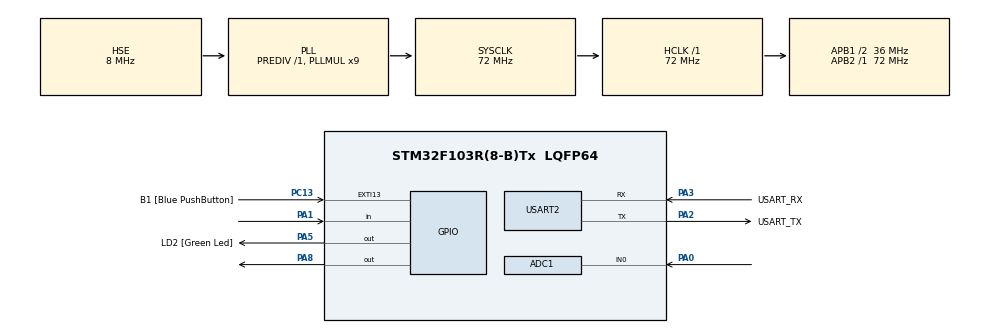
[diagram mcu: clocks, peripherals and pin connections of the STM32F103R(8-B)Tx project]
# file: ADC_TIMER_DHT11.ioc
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ADC1.Channel-0\#ChannelRegularConversion=ADC_CHANNEL_0
ADC1.ContinuousConvMode=ENABLE
ADC1.NbrOfConversionFlag=1
ADC1.Rank-0\#ChannelRegularConversion=1
ADC1.SamplingTime-0\#ChannelRegularConversion=ADC_SAMPLETIME_239CYCLES_5
ADC1.master=1
Mcu.Family=STM32F1
Mcu.Name=STM32F103R(8-B)Tx
Mcu.Package=LQFP64
NVIC.ADC1_2_IRQn=true\:0\:0\:false\:false\:true\:true\:true\:true
NVIC.EXTI15_10_IRQn=true\:0\:0\:false\:false\:true\:true\:true\:true
NVIC.PriorityGroup=NVIC_PRIORITYGROUP_4
PA0-WKUP.Signal=ADCx_IN0
PA1.GPIO_PuPd=GPIO_PULLUP
PA1.Signal=GPIO_Input
PA13.GPIO_Label=TMS
PA13.Mode=Serial_Wire
PA13.Signal=SYS_JTMS-SWDIO
PA14.GPIO_Label=TCK
PA14.Mode=Serial_Wire
PA14.Signal=SYS_JTCK-SWCLK
PA2.GPIO_Label=USART_TX
PA2.GPIO_Mode=GPIO_MODE_AF_PP
PA2.GPIO_PuPd=GPIO_NOPULL
PA2.GPIO_Speed=GPIO_SPEED_FREQ_LOW
PA2.Mode=Asynchronous
PA2.Signal=USART2_TX
PA3.GPIO_Label=USART_RX
PA3.GPIO_Mode=GPIO_MODE_AF_PP
PA3.GPIO_PuPd=GPIO_NOPULL
PA3.GPIO_Speed=GPIO_SPEED_FREQ_LOW
PA3.Mode=Asynchronous
PA3.Signal=USART2_RX
PA5.GPIO_Label=LD2 [Green Led]
PA5.GPIO_ModeDefaultOutputPP=GPIO_MODE_OUTPUT_PP
PA5.GPIO_PuPd=GPIO_NOPULL
PA5.GPIO_Speed=GPIO_SPEED_FREQ_LOW
PA5.Signal=GPIO_Output
PA8.Signal=GPIO_Output
PB3.GPIO_Label=SWO
PB3.Signal=SYS_JTDO-TRACESWO
PC13-TAMPER-RTC.GPIO_Label=B1 [Blue PushButton]
PC13-TAMPER-RTC.GPIO_PuPd=GPIO_NOPULL
PC13-TAMPER-RTC.Signal=GPXTI13
PC14-OSC32_IN.Mode=LSE-External-Oscillator
PC14-OSC32_IN.Signal=RCC_OSC32_IN
PC15-OSC32_OUT.Mode=LSE-External-Oscillator
PC15-OSC32_OUT.Signal=RCC_OSC32_OUT
PD0-OSC_IN.Mode=HSE-External-Clock-Source
PD0-OSC_IN.Signal=RCC_OSC_IN
PD1-OSC_OUT.Mode=HSE-External-Clock-Source
PD1-OSC_OUT.Signal=RCC_OSC_OUT
ProjectManager.HeapSize=0x200
ProjectManager.StackSize=0x400
ProjectManager.TargetToolchain=STM32CubeIDE
RCC.ADCPresc=RCC_ADCPCLK2_DIV6
RCC.AHBFreq_Value=72000000
RCC.APB1CLKDivider=RCC_HCLK_DIV2
RCC.APB1Freq_Value=36000000
RCC.APB1TimFreq_Value=72000000
RCC.APB2Freq_Value=72000000
RCC.APB2TimFreq_Value=72000000
RCC.HCLKFreq_Value=72000000
RCC.PLLMUL=RCC_PLL_MUL9
RCC.PLLSourceVirtual=RCC_PLLSOURCE_HSE
RCC.RTCClockSelection=RCC_RTCCLKSOURCE_LSE
RCC.SYSCLKFreq_VALUE=72000000
RCC.SYSCLKSource=RCC_SYSCLKSOURCE_PLLCLK
RCC.USBFreq_Value=72000000
SH.ADCx_IN0.0=ADC1_IN0,IN0
TIM2.Prescaler=72-1
USART2.VirtualMode=VM_ASYNC
VP_TIM2_VS_ClockSourceINT.Mode=Internal
board=NUCLEO-F103RB

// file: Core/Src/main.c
/* USER CODE BEGIN Header */
/**
  ******************************************************************************
  * @file           : main.c
  * @brief          : Main program body
  ******************************************************************************
  * @attention
  *
  * Copyright (c) 2022 STMicroelectronics.
  * All rights reserved.
  *
  * This software is licensed under terms that can be found in the LICENSE file
  * in the root directory of this software component.
  * If no LICENSE file comes with this software, it is provided AS-IS.
  *
  ******************************************************************************
  */
/* USER CODE END Header */
#include "main.h"

/* USER CODE BEGIN Includes */
#include "stdio.h"
/* USER CODE END Includes */

 ADC_HandleTypeDef hadc1;

TIM_HandleTypeDef htim2;

UART_HandleTypeDef huart2;

/* USER CODE BEGIN PV */
uint32_t adcvalue;
uint32_t IC1, IC2;
int Capureflag;
float freq;
int time;
uint8_t DHT11;
/* USER CODE END PV */

void SystemClock_Config(void);
static void MX_GPIO_Init(void);
static void MX_USART2_UART_Init(void);
static void MX_ADC1_Init(void);
static void MX_TIM2_Init(void);

/* USER CODE BEGIN 0 */
#ifdef __GNUC__
/* With GCC, small printf (option LD Linker->Libraries->Small printf
   set to 'Yes') calls __io_putchar() */
#define PUTCHAR_PROTOTYPE int __io_putchar(int ch)
#else
#define PUTCHAR_PROTOTYPE int fputc(int ch, FILE *f)
#endif /* __GNUC__ */
PUTCHAR_PROTOTYPE
{
  /* Place your implementation of fputc here */
  /* e.g. write a character to the USART1 and Loop until the end of transmission */
  HAL_UART_Transmit(&huart2, (uint8_t *)&ch, 1, 0xFFFF);

  return ch;
}
void delay (uint16_t time)
  {
  	/* change your code here for the delay in microseconds */
  	__HAL_TIM_SET_COUNTER(&htim2, 0);
  	while ((__HAL_TIM_GET_COUNTER(&htim2))<time);
  }

  uint8_t Rh_byte1, Rh_byte2, Temp_byte1, Temp_byte2;
  uint16_t SUM, RH, TEMP;

  float Temperature = 0;
  float Humidity = 0;
  uint8_t Presence = 0;

  void Set_Pin_Output (GPIO_TypeDef *GPIOx, uint16_t GPIO_Pin)
  {
  	GPIO_InitTypeDef GPIO_InitStruct = {0};
  	GPIO_InitStruct.Pin = GPIO_Pin;
  	GPIO_InitStruct.Mode = GPIO_MODE_OUTPUT_PP;
  	GPIO_InitStruct.Speed = GPIO_SPEED_FREQ_LOW;
  	HAL_GPIO_Init(GPIOx, &GPIO_InitStruct);
  }

  void Set_Pin_Input (GPIO_TypeDef *GPIOx, uint16_t GPIO_Pin)
  {
  	GPIO_InitTypeDef GPIO_InitStruct = {0};
  	GPIO_InitStruct.Pin = GPIO_Pin;
  	GPIO_InitStruct.Mode = GPIO_MODE_INPUT;
  	GPIO_InitStruct.Pull = GPIO_PULLUP;
  	HAL_GPIO_Init(GPIOx, &GPIO_InitStruct);
  }

  /*********************************** DHT11 FUNCTIONS ********************************************/

  #define DHT11_PORT GPIOA
  #define DHT11_PIN GPIO_PIN_1

  void DHT11_Start (void)
  {
  	Set_Pin_Output (DHT11_PORT, DHT11_PIN);  // set the pin as output
  	HAL_GPIO_WritePin (DHT11_PORT, DHT11_PIN, 0);   // pull the pin low
  	delay (18000);   // wait for 18ms
      HAL_GPIO_WritePin (DHT11_PORT, DHT11_PIN, 1);   // pull the pin high
  	delay (20);   // wait for 20us
  	Set_Pin_Input(DHT11_PORT, DHT11_PIN);    // set as input
  }

  uint8_t DHT11_Check_Response (void)
  {
  	uint8_t Response = 0;
  	delay (40);
  	if (!(HAL_GPIO_ReadPin (DHT11_PORT, DHT11_PIN)))
  	{
  		delay (80);
  		if ((HAL_GPIO_ReadPin (DHT11_PORT, DHT11_PIN))) Response = 1;
  		else Response = -1; // 255
  	}
  	while ((HAL_GPIO_ReadPin (DHT11_PORT, DHT11_PIN)));   // wait for the pin to go low

  	return Response;
  }

  uint8_t DHT11_Read (void)
  {
  	uint8_t i,j;
  	for (j=0;j<8;j++)
  	{
  		while (!(HAL_GPIO_ReadPin (DHT11_PORT, DHT11_PIN)));   // wait for the pin to go high
  		delay (40);   // wait for 40 us
  		if (!(HAL_GPIO_ReadPin (DHT11_PORT, DHT11_PIN)))   // if the pin is low
  		{
  			i&= ~(1<<(7-j));   // write 0
  		}
  		else i|= (1<<(7-j));  // if the pin is high, write 1
  		while ((HAL_GPIO_ReadPin (DHT11_PORT, DHT11_PIN)));  // wait for the pin to go low
  	}
  	return i;
  }
/* USER CODE END 0 */

int main(void)
{

  /* MCU Configuration--------------------------------------------------------*/

  /* Reset of all peripherals, Initializes the Flash interface and the Systick. */
  HAL_Init();

  /* Configure the system clock */
  SystemClock_Config();

  /* Initialize all configured peripherals */
  MX_GPIO_Init();
  MX_USART2_UART_Init();
  MX_ADC1_Init();
  MX_TIM2_Init();
  /* USER CODE BEGIN 2 */
  HAL_ADC_Start_IT(&hadc1);		//ADC 활성화
  HAL_TIM_Base_Start(&htim2);  //timer 활성화
  /* USER CODE END 2 */

  /* Infinite loop */
  /* USER CODE BEGIN WHILE */
  while (1)
  {
 	  HAL_Delay(1000);
 	  printf("adc : %d\n\r", adcvalue);

 	  if(adcvalue>100)
 	  {
 		  HAL_GPIO_WritePin(GPIOA, GPIO_PIN_8, GPIO_PIN_RESET);		//끄기
 	  }
 	  else
 	  {
 		  HAL_GPIO_WritePin(GPIOA, GPIO_PIN_8, GPIO_PIN_SET);		//켜기
 	  }
     /* USER CODE END WHILE */

     /* USER CODE BEGIN 3 */
 	  /********************** DHT11 *********************/
 	  	 	  DHT11_Start();
 	  		  Presence = DHT11_Check_Response();
 	  		  Rh_byte1 = DHT11_Read ();
 	  		  Rh_byte2 = DHT11_Read ();
 	  		  Temp_byte1 = DHT11_Read ();
 	  		  Temp_byte2 = DHT11_Read ();
 	  		  SUM = DHT11_Read();

 	  		  TEMP = Temp_byte1;
 	  		  RH = Rh_byte1;

 	  		  Temperature = (float) TEMP;
 	  		  Humidity = (float) RH;

 	  		  printf("Temperature : %.0f Humidity : %.0f\r\n" , Temperature,Humidity);
 	  		  HAL_Delay(1000);

   }
  /* USER CODE END 3 */
}

void SystemClock_Config(void)
{
  RCC_OscInitTypeDef RCC_OscInitStruct = {0};
  RCC_ClkInitTypeDef RCC_ClkInitStruct = {0};
  RCC_PeriphCLKInitTypeDef PeriphClkInit = {0};

  /** Initializes the RCC Oscillators according to the specified parameters
  * in the RCC_OscInitTypeDef structure.
  */
  RCC_OscInitStruct.OscillatorType = RCC_OSCILLATORTYPE_HSE;
  RCC_OscInitStruct.HSEState = RCC_HSE_BYPASS;
  RCC_OscInitStruct.HSEPredivValue = RCC_HSE_PREDIV_DIV1;
  RCC_OscInitStruct.HSIState = RCC_HSI_ON;
  RCC_OscInitStruct.PLL.PLLState = RCC_PLL_ON;
  RCC_OscInitStruct.PLL.PLLSource = RCC_PLLSOURCE_HSE;
  RCC_OscInitStruct.PLL.PLLMUL = RCC_PLL_MUL9;
  if (HAL_RCC_OscConfig(&RCC_OscInitStruct) != HAL_OK)
  {
    Error_Handler();
  }

  /** Initializes the CPU, AHB and APB buses clocks
  */
  RCC_ClkInitStruct.ClockType = RCC_CLOCKTYPE_HCLK|RCC_CLOCKTYPE_SYSCLK
                              |RCC_CLOCKTYPE_PCLK1|RCC_CLOCKTYPE_PCLK2;
  RCC_ClkInitStruct.SYSCLKSource = RCC_SYSCLKSOURCE_PLLCLK;
  RCC_ClkInitStruct.AHBCLKDivider = RCC_SYSCLK_DIV1;
  RCC_ClkInitStruct.APB1CLKDivider = RCC_HCLK_DIV2;
  RCC_ClkInitStruct.APB2CLKDivider = RCC_HCLK_DIV1;

  if (HAL_RCC_ClockConfig(&RCC_ClkInitStruct, FLASH_LATENCY_2) != HAL_OK)
  {
    Error_Handler();
  }
  PeriphClkInit.PeriphClockSelection = RCC_PERIPHCLK_ADC;
  PeriphClkInit.AdcClockSelection = RCC_ADCPCLK2_DIV6;
  if (HAL_RCCEx_PeriphCLKConfig(&PeriphClkInit) != HAL_OK)
  {
    Error_Handler();
  }
}

static void MX_ADC1_Init(void)
{

  ADC_ChannelConfTypeDef sConfig = {0};

  /** Common config
  */
  hadc1.Instance = ADC1;
  hadc1.Init.ScanConvMode = ADC_SCAN_DISABLE;
  hadc1.Init.ContinuousConvMode = ENABLE;
  hadc1.Init.DiscontinuousConvMode = DISABLE;
  hadc1.Init.ExternalTrigConv = ADC_SOFTWARE_START;
  hadc1.Init.DataAlign = ADC_DATAALIGN_RIGHT;
  hadc1.Init.NbrOfConversion = 1;
  if (HAL_ADC_Init(&hadc1) != HAL_OK)
  {
    Error_Handler();
  }

  /** Configure Regular Channel
  */
  sConfig.Channel = ADC_CHANNEL_0;
  sConfig.Rank = ADC_REGULAR_RANK_1;
  sConfig.SamplingTime = ADC_SAMPLETIME_239CYCLES_5;
  if (HAL_ADC_ConfigChannel(&hadc1, &sConfig) != HAL_OK)
  {
    Error_Handler();
  }

}

static void MX_TIM2_Init(void)
{

  TIM_ClockConfigTypeDef sClockSourceConfig = {0};
  TIM_MasterConfigTypeDef sMasterConfig = {0};

  htim2.Instance = TIM2;
  htim2.Init.Prescaler = 72-1;
  htim2.Init.CounterMode = TIM_COUNTERMODE_UP;
  htim2.Init.Period = 65535;
  htim2.Init.ClockDivision = TIM_CLOCKDIVISION_DIV1;
  htim2.Init.AutoReloadPreload = TIM_AUTORELOAD_PRELOAD_DISABLE;
  if (HAL_TIM_Base_Init(&htim2) != HAL_OK)
  {
    Error_Handler();
  }
  sClockSourceConfig.ClockSource = TIM_CLOCKSOURCE_INTERNAL;
  if (HAL_TIM_ConfigClockSource(&htim2, &sClockSourceConfig) != HAL_OK)
  {
    Error_Handler();
  }
  sMasterConfig.MasterOutputTrigger = TIM_TRGO_RESET;
  sMasterConfig.MasterSlaveMode = TIM_MASTERSLAVEMODE_DISABLE;
  if (HAL_TIMEx_MasterConfigSynchronization(&htim2, &sMasterConfig) != HAL_OK)
  {
    Error_Handler();
  }

}

static void MX_USART2_UART_Init(void)
{

  huart2.Instance = USART2;
  huart2.Init.BaudRate = 115200;
  huart2.Init.WordLength = UART_WORDLENGTH_8B;
  huart2.Init.StopBits = UART_STOPBITS_1;
  huart2.Init.Parity = UART_PARITY_NONE;
  huart2.Init.Mode = UART_MODE_TX_RX;
  huart2.Init.HwFlowCtl = UART_HWCONTROL_NONE;
  huart2.Init.OverSampling = UART_OVERSAMPLING_16;
  if (HAL_UART_Init(&huart2) != HAL_OK)
  {
    Error_Handler();
  }

}

static void MX_GPIO_Init(void)
{
  GPIO_InitTypeDef GPIO_InitStruct = {0};

  /* GPIO Ports Clock Enable */
  __HAL_RCC_GPIOC_CLK_ENABLE();
  __HAL_RCC_GPIOD_CLK_ENABLE();
  __HAL_RCC_GPIOA_CLK_ENABLE();
  __HAL_RCC_GPIOB_CLK_ENABLE();

  /*Configure GPIO pin Output Level */
  HAL_GPIO_WritePin(GPIOA, LD2_Pin|GPIO_PIN_8, GPIO_PIN_RESET);

  /*Configure GPIO pin : B1_Pin */
  GPIO_InitStruct.Pin = B1_Pin;
  GPIO_InitStruct.Mode = GPIO_MODE_IT_RISING;
  GPIO_InitStruct.Pull = GPIO_NOPULL;
  HAL_GPIO_Init(B1_GPIO_Port, &GPIO_InitStruct);

  /*Configure GPIO pin : PA1 */
  GPIO_InitStruct.Pin = GPIO_PIN_1;
  GPIO_InitStruct.Mode = GPIO_MODE_INPUT;
  GPIO_InitStruct.Pull = GPIO_PULLUP;
  HAL_GPIO_Init(GPIOA, &GPIO_InitStruct);

  /*Configure GPIO pins : LD2_Pin PA8 */
  GPIO_InitStruct.Pin = LD2_Pin|GPIO_PIN_8;
  GPIO_InitStruct.Mode = GPIO_MODE_OUTPUT_PP;
  GPIO_InitStruct.Pull = GPIO_NOPULL;
  GPIO_InitStruct.Speed = GPIO_SPEED_FREQ_LOW;
  HAL_GPIO_Init(GPIOA, &GPIO_InitStruct);

  /* EXTI interrupt init*/
  HAL_NVIC_SetPriority(EXTI15_10_IRQn, 0, 0);
  HAL_NVIC_EnableIRQ(EXTI15_10_IRQn);

}

/* USER CODE BEGIN 4 */
void HAL_ADC_ConvCpltCallback(ADC_HandleTypeDef *hadc)
{
	adcvalue = (uint32_t) HAL_ADC_GetValue(&hadc1); 				//ADC변환 데이터를 정수값 반환
}

void HAL_TIM_IC_CaptureCallback(TIM_HandleTypeDef *htim)
{
	if(htim->Channel == HAL_TIM_ACTIVE_CHANNEL_1)
	{
		if(Capureflag == 0)

		{
			IC1 = HAL_TIM_ReadCapturedValue(&htim2, TIM_CHANNEL_1);
			Capureflag = 1;
		}
		else if(Capureflag ==1)
		{
			IC2 = HAL_TIM_ReadCapturedValue(&htim2, TIM_CHANNEL_1);
			freq = IC2- IC1;
			time = 1/freq;											//시간(주기) = 1/주파수
			printf("%d\r\n", time);
			__HAL_TIM_SET_COUNTER(&htim2, 0);
			Capureflag = 0;											 //리셋
		}
	}
}
/* USER CODE END 4 */

void Error_Handler(void)
{
  __disable_irq();
  while (1)
  {
  }
}
